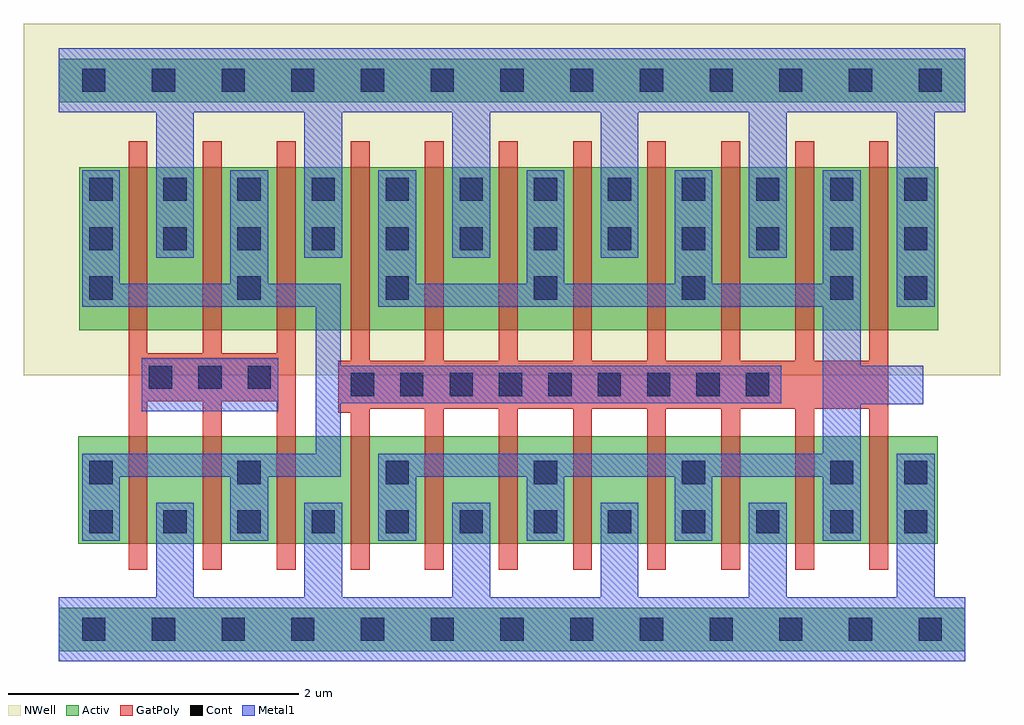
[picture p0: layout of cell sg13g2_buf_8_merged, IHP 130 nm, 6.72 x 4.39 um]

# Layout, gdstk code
import gdstk
lib = gdstk.Library(unit=1e-6, precision=1e-09)
def R(c, l, rs):  # rectangles x0, y0, x1, y1
    for r in rs: c.add(gdstk.rectangle(r[:2], r[2:], *l))
def A(c, l, x, y, w, h, nx, ny, dx, dy):  # array of equal rectangles
    R(c, l, [(x+i*dx, y+j*dy, x+i*dx+w, y+j*dy+h) for i in range(nx) for j in range(ny)])
def P(c, l, *ps):  # polygons
    for p in ps: c.add(gdstk.Polygon(p, *l))
Activ = (1, 0)
GatPoly = (5, 0)
Cont = (6, 0)
Metal1 = (8, 0)
NWell = (31, 0)

sg13g2_buf_8_merged = lib.new_cell('sg13g2_buf_8_merged')
R(sg13g2_buf_8_merged, Activ, [(0,-0.15,6.24,0.15), (0.135,0.59,6.05,1.33), (0.14,2.06,6.055,3.18), (0,3.63,6.24,3.93)])
P(sg13g2_buf_8_merged, GatPoly, [(0.48,0.41),(0.48,3.36),(0.61,3.36),(0.61,1.9),(0.99,1.9),(0.99,3.36),(1.12,3.36),(1.12,1.9),(1.5,1.9),(1.5,3.36),(1.63,3.36),(1.63,0.41),(1.5,0.41),(1.5,1.57),(1.12,1.57),(1.12,0.41),(0.99,0.41),(0.99,1.57),(0.61,1.57),(0.61,0.41)],
  [(2.01,0.41),(2.01,1.49),(1.925,1.49),(1.925,1.85),(2.01,1.85),(2.01,3.36),(2.14,3.36),(2.14,1.85),(2.52,1.85),(2.52,3.36),(2.65,3.36),(2.65,1.85),(3.03,1.85),(3.03,3.36),(3.16,3.36),(3.16,1.85),(3.54,1.85),(3.54,3.36),(3.67,3.36),(3.67,1.85),(4.05,1.85),(4.05,3.36),(4.18,3.36),(4.18,1.85),(4.56,1.85),(4.56,3.36),(4.69,3.36),(4.69,1.85),(5.07,1.85),(5.07,3.36),(5.2,3.36),(5.2,1.85),(5.58,1.85),(5.58,3.36),(5.71,3.36),(5.71,0.41),(5.58,0.41),(5.58,1.52),(5.2,1.52),(5.2,0.41),(5.07,0.41),(5.07,1.52),(4.69,1.52),(4.69,0.41),(4.56,0.41),(4.56,1.52),(4.18,1.52),(4.18,0.41),(4.05,0.41),(4.05,1.52),(3.67,1.52),(3.67,0.41),(3.54,0.41),(3.54,1.52),(3.16,1.52),(3.16,0.41),(3.03,0.41),(3.03,1.52),(2.65,1.52),(2.65,0.41),(2.52,0.41),(2.52,1.52),(2.14,1.52),(2.14,0.41)])
A(sg13g2_buf_8_merged, Cont, 0.16, -0.08, 0.16, 0.16, 13, 2, 0.48, 3.78)
A(sg13g2_buf_8_merged, Cont, 0.21, 0.66, 0.16, 0.16, 12, 2, 0.51, 1.95)
A(sg13g2_buf_8_merged, Cont, 0.21, 1, 0.16, 0.16, 6, 2, 1.02, 1.27)
A(sg13g2_buf_8_merged, Cont, 2.01, 1.605, 0.16, 0.16, 9, 1, 0.34, 0)
A(sg13g2_buf_8_merged, Cont, 0.62, 1.655, 0.16, 0.16, 3, 1, 0.34, 0)
A(sg13g2_buf_8_merged, Cont, 0.21, 2.95, 0.16, 0.16, 12, 1, 0.51, 0)
R(sg13g2_buf_8_merged, Cont, [(5.82,1,5.98,1.16), (5.82,2.27,5.98,2.43)])
R(sg13g2_buf_8_merged, Metal1, [(0.57,1.5,1.51,1.865)])
P(sg13g2_buf_8_merged, Metal1, [(0,-0.22),(0,0.22),(0.67,0.22),(0.67,0.87),(0.93,0.87),(0.93,0.22),(1.69,0.22),(1.69,0.87),(1.95,0.87),(1.95,0.22),(2.71,0.22),(2.71,0.87),(2.97,0.87),(2.97,0.22),(3.73,0.22),(3.73,0.87),(3.99,0.87),(3.99,0.22),(4.75,0.22),(4.75,0.87),(5.01,0.87),(5.01,0.22),(5.77,0.22),(5.77,1.21),(6.03,1.21),(6.03,0.22),(6.24,0.22),(6.24,-0.22)],
  [(0.16,0.61),(0.16,1.21),(1.77,1.21),(1.77,2.22),(0.16,2.22),(0.16,3.16),(0.42,3.16),(0.42,2.38),(1.18,2.38),(1.18,3.16),(1.44,3.16),(1.44,2.38),(1.94,2.38),(1.94,1.815),(4.975,1.815),(4.975,1.555),(1.94,1.555),(1.94,1.05),(1.44,1.05),(1.44,0.61),(1.18,0.61),(1.18,1.05),(0.42,1.05),(0.42,0.61)],
  [(2.2,0.61),(2.2,1.21),(5.26,1.21),(5.26,2.22),(2.2,2.22),(2.2,3.16),(2.46,3.16),(2.46,2.38),(3.22,2.38),(3.22,3.16),(3.48,3.16),(3.48,2.38),(4.24,2.38),(4.24,3.16),(4.5,3.16),(4.5,2.38),(5.26,2.38),(5.26,3.16),(5.52,3.16),(5.52,1.815),(5.95,1.815),(5.95,1.55),(5.52,1.55),(5.52,0.61),(5.26,0.61),(5.26,1.05),(4.5,1.05),(4.5,0.61),(4.24,0.61),(4.24,1.05),(3.48,1.05),(3.48,0.61),(3.22,0.61),(3.22,1.05),(2.46,1.05),(2.46,0.61)],
  [(5.77,2.22),(5.77,3.56),(5.01,3.56),(5.01,2.56),(4.75,2.56),(4.75,3.56),(3.99,3.56),(3.99,2.56),(3.73,2.56),(3.73,3.56),(2.97,3.56),(2.97,2.56),(2.71,2.56),(2.71,3.56),(1.95,3.56),(1.95,2.56),(1.69,2.56),(1.69,3.56),(0.93,3.56),(0.93,2.56),(0.67,2.56),(0.67,3.56),(0,3.56),(0,4),(6.24,4),(6.24,3.56),(6.03,3.56),(6.03,2.22)])
R(sg13g2_buf_8_merged, NWell, [(-0.24,1.75,6.48,4.17)])

lib.write_gds('sg13g2_buf_8_merged.gds')
